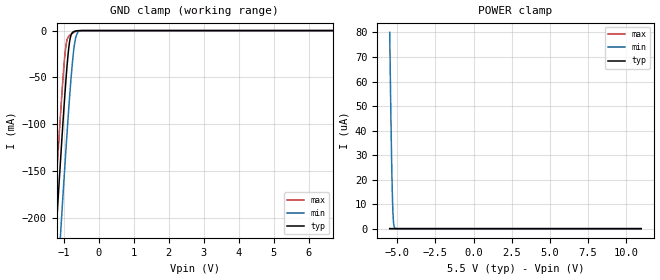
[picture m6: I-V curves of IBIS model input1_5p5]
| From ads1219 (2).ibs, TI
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|   input1_5p5 Model
[Model]   input1_5p5
Model_type   Input
Vinl = 1.65
Vinh = 3.85
|   typ   min   max
C_comp   6.04837E-13   5.61864E-13   6.42144E-13
[Model spec]
|subparameter
Vinl   1.65   1.6497   1.6503
Vinh   3.85   3.8493   3.8507
| Where Nom  PVT is Nominal Process, 5.5V, 27C
|   Fast PVT is Strong Process,  5.501V, -40C
|   Slow PVT is Weak Process,   5.499, 125C
[Voltage Range]   5.5   5.499   5.501
[Temperature Range]   27   125   -40
[Power Clamp Reference]   5.5   5.499   5.501
[GND Clamp Reference]   0   0   0
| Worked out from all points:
|   GND clamp passes 1 mA (typ) near -0.70 V on its own axis
[GND Clamp]
|   Voltage   I(typ)   I(min)   I(max)
-5.5V     -3.028A    -3.1A      -2.983A
-1.375V   -316.7mA   -396.8mA   -266.2mA
-1.243V   -234mA     -314.2mA   -183.5mA
-1.194V   -203.5mA   -283.5mA   -153mA
-1.111V   -153.4mA   -233mA     -103.7mA
-1.045V   -114.6mA   -193.3mA   -66.35mA
-946mV    -60.14mA   -135.5mA   -20.73mA
-830.5mV  -12.75mA   -72.77mA   -5.353mA
-682mV    -700.8uA   -13.19mA   -1.431mA
-599.5mV  -146.1uA   -2.018mA   -345.4uA
-451mV    -3.533uA   -35uA      -5.167uA
11V       0A         0A         0A
[POWER Clamp]
|   Voltage   I(typ)   I(min)   I(max)
-5.5V     8.516nA    80.03uA    5.63nA
-5.45V    0A         57.6uA     0A
-5.401V   0A         37.29uA    0A
-5.368V   0A         25.54uA    0A
-5.351V   0A         20.39uA    0A
-5.319V   0A         11.89uA    0A
-5.302V   0A         8.636uA    0A
-5.285V   0A         6.064uA    0A
-5.253V   0A         2.731uA    0A
-5.22V    0A         1.126uA    0A
-5.154V   0A         166.3nA    0A
11V       0A         0A         0A
